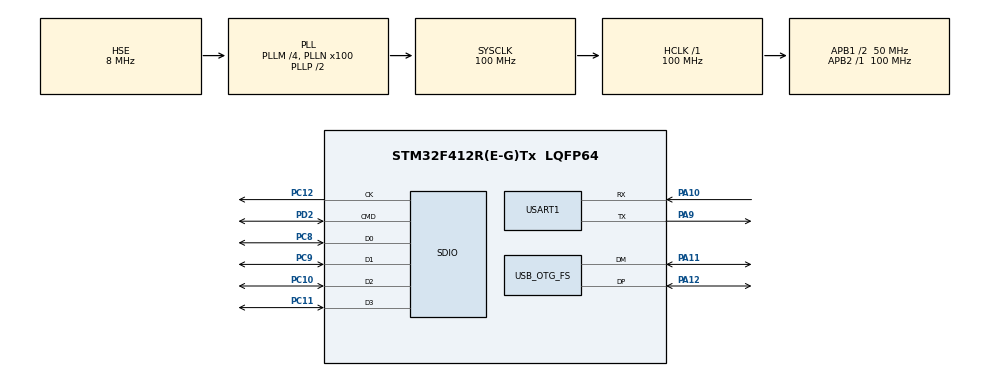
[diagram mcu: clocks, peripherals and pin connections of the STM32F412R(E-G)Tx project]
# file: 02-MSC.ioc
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Mcu.Family=STM32F4
Mcu.Name=STM32F412R(E-G)Tx
Mcu.Package=LQFP64
NVIC.OTG_FS_IRQn=true\:0\:0\:false\:false\:true\:false\:true\:true
NVIC.PriorityGroup=NVIC_PRIORITYGROUP_4
PA10.Mode=Asynchronous
PA10.Signal=USART1_RX
PA11.Mode=Device_Only
PA11.Signal=USB_OTG_FS_DM
PA12.Mode=Device_Only
PA12.Signal=USB_OTG_FS_DP
PA13.Mode=Serial_Wire
PA13.Signal=SYS_JTMS-SWDIO
PA14.Mode=Serial_Wire
PA14.Signal=SYS_JTCK-SWCLK
PA9.Mode=Asynchronous
PA9.Signal=USART1_TX
PC10.GPIO_PuPd=GPIO_PULLUP
PC10.Mode=SD_4_bits_Wide_bus
PC10.Signal=SDIO_D2
PC11.GPIO_PuPd=GPIO_PULLUP
PC11.Mode=SD_4_bits_Wide_bus
PC11.Signal=SDIO_D3
PC12.GPIO_PuPd=GPIO_PULLUP
PC12.Mode=SD_4_bits_Wide_bus
PC12.Signal=SDIO_CK
PC14-OSC32_IN.Mode=LSE-External-Oscillator
PC14-OSC32_IN.Signal=RCC_OSC32_IN
PC15-OSC32_OUT.Mode=LSE-External-Oscillator
PC15-OSC32_OUT.Signal=RCC_OSC32_OUT
PC8.GPIO_PuPd=GPIO_PULLUP
PC8.Mode=SD_4_bits_Wide_bus
PC8.Signal=SDIO_D0
PC9.GPIO_PuPd=GPIO_PULLUP
PC9.Mode=SD_4_bits_Wide_bus
PC9.Signal=SDIO_D1
PD2.GPIO_PuPd=GPIO_PULLUP
PD2.Mode=SD_4_bits_Wide_bus
PD2.Signal=SDIO_CMD
PH0\ -\ OSC_IN.Mode=HSE-External-Oscillator
PH0\ -\ OSC_IN.Signal=RCC_OSC_IN
PH1\ -\ OSC_OUT.Mode=HSE-External-Oscillator
PH1\ -\ OSC_OUT.Signal=RCC_OSC_OUT
ProjectManager.HeapSize=0x400
ProjectManager.StackSize=0x400
ProjectManager.TargetToolchain=MDK-ARM V5.32
RCC.AHBFreq_Value=100000000
RCC.APB1CLKDivider=RCC_HCLK_DIV2
RCC.APB1Freq_Value=50000000
RCC.APB1TimFreq_Value=100000000
RCC.APB2Freq_Value=100000000
RCC.APB2TimFreq_Value=100000000
RCC.CortexFreq_Value=100000000
RCC.HCLKFreq_Value=100000000
RCC.HSE_VALUE=8000000
RCC.PLLI2SM=4
RCC.PLLI2SN=72
RCC.PLLI2SQ=3
RCC.PLLM=4
RCC.PLLN=100
RCC.PLLQ=8
RCC.RCC_RTC_Clock_Source=RCC_RTCCLKSOURCE_LSE
RCC.RCC_RTC_Clock_SourceVirtual=RCC_RTCCLKSOURCE_LSE
RCC.SYSCLKFreq_VALUE=100000000
RCC.SYSCLKSource=RCC_SYSCLKSOURCE_PLLCLK
RCC.USBCLockSelection=RCC_CLK48CLKSOURCE_PLLI2SQ
RCC.USBFreq_Value=48000000
RCC.VCOOutputFreq_Value=200000000
RTC.Year=23
SDIO.ClockDiv=3
SDIO.HardwareFlowControl=SDIO_HARDWARE_FLOW_CONTROL_ENABLE
USART1.VirtualMode=VM_ASYNC
USB_DEVICE.CLASS_NAME_FS=MSC
USB_DEVICE.USBD_SELF_POWERED=0
USB_DEVICE.VirtualMode=Msc
USB_DEVICE.VirtualModeFS=Msc_FS
USB_OTG_FS.VirtualMode=Device_Only
VP_RTC_VS_RTC_Activate.Mode=RTC_Enabled
VP_RTC_VS_RTC_Calendar.Mode=RTC_Calendar
VP_USB_DEVICE_VS_USB_DEVICE_MSC_FS.Mode=MSC_FS
board=custom

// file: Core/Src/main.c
/* USER CODE BEGIN Header */
/**
  ******************************************************************************
  * @file           : main.c
  * @brief          : Main program body
  ******************************************************************************
  * @attention
  *
  * Copyright (c) 2023 STMicroelectronics.
  * All rights reserved.
  *
  * This software is licensed under terms that can be found in the LICENSE file
  * in the root directory of this software component.
  * If no LICENSE file comes with this software, it is provided AS-IS.
  *
  ******************************************************************************
  */
/* USER CODE END Header */
#include "main.h"
#include "rtc.h"
#include "usart.h"
#include "gpio.h"

/* USER CODE BEGIN Includes */
#include "board.h"
#include <stdio.h>

#include "usb_device.h"
#include "sdio.h"
/* USER CODE END Includes */

/* USER CODE BEGIN PTD */
#if defined (__ICCARM__) || defined (__ARMCC_VERSION)
#define PUTCHAR_PROTOTYPE int fputc(int ch, FILE *f)
#elif defined(__GNUC__)
   /* With GCC, small printf (option LD Linker->Libraries->Small printf
   set to 'Yes') calls __io_putchar() */
#define PUTCHAR_PROTOTYPE int __io_putchar(int ch)
#endif /* __ICCARM__ || __ARMCC_VERSION */

/**
  * @brief  Retargets the C library printf function to the USART.
  * @param  None
  * @retval None
  */
PUTCHAR_PROTOTYPE
{
  /* Place your implementation of fputc here */
  /* e.g. write a character to the USART2 and Loop until the end of transmission */
  HAL_UART_Transmit(&huart1, (uint8_t *)&ch, 1, 0xFFFF);

  return ch;
}

/* USER CODE END PTD */

void SystemClock_Config(void);
void PeriphCommonClock_Config(void);

int main(void)
{

  /* MCU Configuration--------------------------------------------------------*/

  /* Reset of all peripherals, Initializes the Flash interface and the Systick. */
  HAL_Init();

  /* Configure the system clock */
  SystemClock_Config();

/* Configure the peripherals common clocks */
  PeriphCommonClock_Config();

  /* USER CODE BEGIN SysInit */
  board_button_init();
  board_led_init();
  board_sd_detect_init();
  /* USER CODE END SysInit */

  /* Initialize all configured peripherals */
  MX_GPIO_Init();
  MX_RTC_Init();
  MX_USART1_UART_Init();
  /* USER CODE BEGIN 2 */
	if(board_sd_detect_getstate())
	{
		board_led_set(1);
		HAL_Delay(50);
		board_led_set(0);
		HAL_Delay(50);

		board_led_set(1);
		HAL_Delay(50);
		board_led_set(0);
		HAL_Delay(50);
		MX_SDIO_SD_Init();
		MX_USB_DEVICE_Init();
	}
	else
	{
		board_led_set(1);
		HAL_Delay(200);
		board_led_set(0);
		HAL_Delay(200);

		board_led_set(1);
		HAL_Delay(200);
		board_led_set(0);
		HAL_Delay(200);

		board_led_set(1);
		HAL_Delay(200);
		board_led_set(0);
		HAL_Delay(200);
	}

  uint32_t tick,tick_now;
  tick = HAL_GetTick() + 200;
  tick_now = HAL_GetTick();
  /* USER CODE END 2 */

  /* Infinite loop */
  /* USER CODE BEGIN WHILE */
  while (1)
  {
		tick_now = HAL_GetTick();
    if(board_button_getstate())
    {
      if(tick_now >= tick)
      {
        tick = tick_now + 200;
        board_led_toggle();
      }
    }
    else
    {
      if(tick_now >= tick)
      {
        tick = tick_now + 50;

        RTC_DateTypeDef sdatestructureget;
        RTC_TimeTypeDef stimestructureget;
        uint8_t text[30];
        static uint8_t Seconds_o;

        /* Get the RTC current Time */
        HAL_RTC_GetTime(&hrtc, &stimestructureget, RTC_FORMAT_BIN);
        /* Get the RTC current Date */
        HAL_RTC_GetDate(&hrtc, &sdatestructureget, RTC_FORMAT_BIN);

        if(Seconds_o != stimestructureget.Seconds)
        {
          Seconds_o = stimestructureget.Seconds;

          printf("20%02d.%02d.%02d %02d:%02d %02d\r\n",sdatestructureget.Year,sdatestructureget.Month,sdatestructureget.Date, \
                                            stimestructureget.Hours,stimestructureget.Minutes,stimestructureget.Seconds);
          board_led_set(1);
        }
        else
        {
          board_led_set(0);
        }
      }
    }
    /* USER CODE END WHILE */

  }
}

void SystemClock_Config(void)
{
  RCC_OscInitTypeDef RCC_OscInitStruct = {0};
  RCC_ClkInitTypeDef RCC_ClkInitStruct = {0};

  /** Configure the main internal regulator output voltage
  */
  __HAL_RCC_PWR_CLK_ENABLE();
  __HAL_PWR_VOLTAGESCALING_CONFIG(PWR_REGULATOR_VOLTAGE_SCALE1);

  /** Initializes the RCC Oscillators according to the specified parameters
  * in the RCC_OscInitTypeDef structure.
  */
  RCC_OscInitStruct.OscillatorType = RCC_OSCILLATORTYPE_HSE|RCC_OSCILLATORTYPE_LSE;
  RCC_OscInitStruct.HSEState = RCC_HSE_ON;
  RCC_OscInitStruct.LSEState = RCC_LSE_ON;
  RCC_OscInitStruct.PLL.PLLState = RCC_PLL_ON;
  RCC_OscInitStruct.PLL.PLLSource = RCC_PLLSOURCE_HSE;
  RCC_OscInitStruct.PLL.PLLM = 4;
  RCC_OscInitStruct.PLL.PLLN = 100;
  RCC_OscInitStruct.PLL.PLLP = RCC_PLLP_DIV2;
  RCC_OscInitStruct.PLL.PLLQ = 8;
  RCC_OscInitStruct.PLL.PLLR = 2;
  if (HAL_RCC_OscConfig(&RCC_OscInitStruct) != HAL_OK)
  {
    Error_Handler();
  }

  /** Initializes the CPU, AHB and APB buses clocks
  */
  RCC_ClkInitStruct.ClockType = RCC_CLOCKTYPE_HCLK|RCC_CLOCKTYPE_SYSCLK
                              |RCC_CLOCKTYPE_PCLK1|RCC_CLOCKTYPE_PCLK2;
  RCC_ClkInitStruct.SYSCLKSource = RCC_SYSCLKSOURCE_PLLCLK;
  RCC_ClkInitStruct.AHBCLKDivider = RCC_SYSCLK_DIV1;
  RCC_ClkInitStruct.APB1CLKDivider = RCC_HCLK_DIV2;
  RCC_ClkInitStruct.APB2CLKDivider = RCC_HCLK_DIV1;

  if (HAL_RCC_ClockConfig(&RCC_ClkInitStruct, FLASH_LATENCY_3) != HAL_OK)
  {
    Error_Handler();
  }
}

void PeriphCommonClock_Config(void)
{
  RCC_PeriphCLKInitTypeDef PeriphClkInitStruct = {0};

  /** Initializes the peripherals clock
  */
  PeriphClkInitStruct.PeriphClockSelection = RCC_PERIPHCLK_PLLI2S|RCC_PERIPHCLK_CLK48
                              |RCC_PERIPHCLK_SDIO;
  PeriphClkInitStruct.PLLI2S.PLLI2SN = 72;
  PeriphClkInitStruct.PLLI2S.PLLI2SM = 4;
  PeriphClkInitStruct.PLLI2S.PLLI2SR = 2;
  PeriphClkInitStruct.PLLI2S.PLLI2SQ = 3;
  PeriphClkInitStruct.Clk48ClockSelection = RCC_CLK48CLKSOURCE_PLLI2SQ;
  PeriphClkInitStruct.SdioClockSelection = RCC_SDIOCLKSOURCE_CLK48;
  PeriphClkInitStruct.PLLI2SSelection = RCC_PLLI2SCLKSOURCE_PLLSRC;
  if (HAL_RCCEx_PeriphCLKConfig(&PeriphClkInitStruct) != HAL_OK)
  {
    Error_Handler();
  }
}

void Error_Handler(void)
{
  __disable_irq();
  while (1)
  {
  }
}
